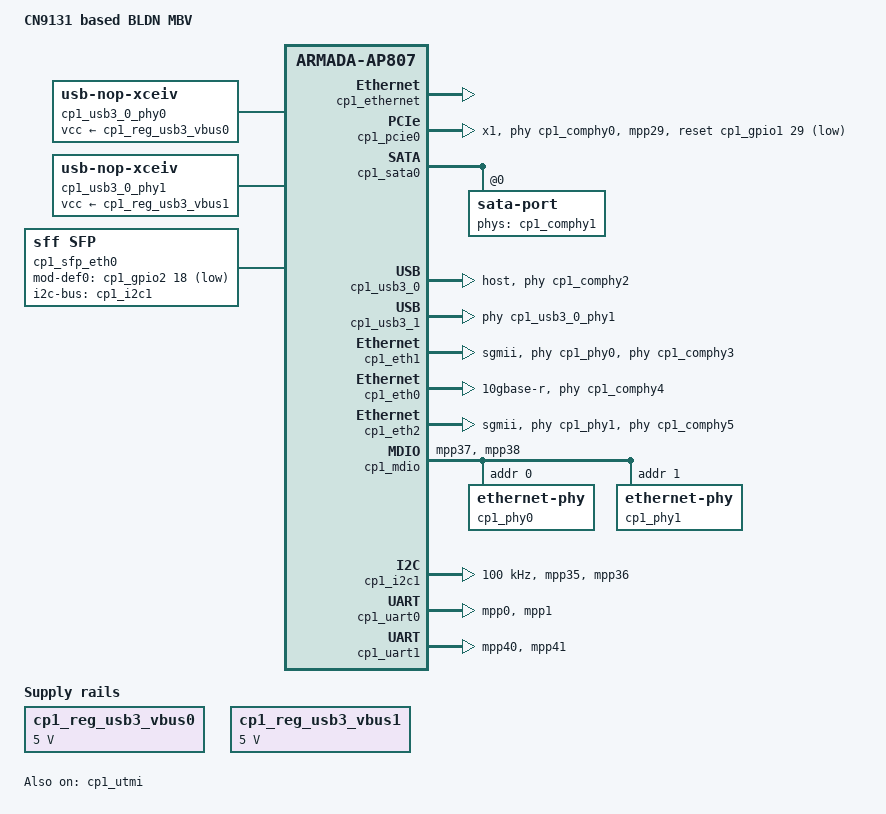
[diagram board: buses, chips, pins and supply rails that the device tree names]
// SPDX-License-Identifier: (GPL-2.0+ OR MIT)
/*
 * Copyright SolidRun Ltd.
 *
 * Device tree for the CN9131 COM Express Type 7 board.
 */

#include "cn9130-cf-solidwan.dts"

/ {
	model = "CN9131 based BLDN MBV";
	compatible = "marvell,cn9131", "marvell,cn9130",
		     "marvell,armada-ap807-quad", "marvell,armada-ap807";

	aliases {
		gpio3 = &cp1_gpio1;
		gpio4 = &cp1_gpio2;
		ethernet3 = &cp1_eth0;
		ethernet4 = &cp1_eth1;
	};
	cp1_reg_usb3_vbus0: cp1_usb3_vbus@0 {
		compatible = "regulator-fixed";
		regulator-name = "cp1-xhci0-vbus";
		regulator-min-microvolt = <5000000>;
		regulator-max-microvolt = <5000000>;
		enable-active-high;
	};
	cp1_usb3_0_phy0: cp1_usb3_phy0 {
		compatible = "usb-nop-xceiv";
		vcc-supply = <&cp1_reg_usb3_vbus0>;
	};
	cp1_reg_usb3_vbus1: cp1_usb3_vbus@1 {
		compatible = "regulator-fixed";
		regulator-name = "cp1-xhci1-vbus";
		regulator-min-microvolt = <5000000>;
		regulator-max-microvolt = <5000000>;
		enable-active-high;
	};
	cp1_usb3_0_phy1: cp1_usb3_phy@1 {
		compatible = "usb-nop-xceiv";
		vcc-supply = <&cp1_reg_usb3_vbus1>;
	};
	cp1_sfp_eth0: sfp_eth0{
		compatible = "sff,sfp";
		i2c-bus = <&cp1_i2c1>;
                mod-def0-gpio = <&cp1_gpio2 18 GPIO_ACTIVE_LOW>; //MPP50
                maximum-power-milliwatt = <2000>;
                pinctrl-0 = <&sfp_cp1_present_pins>; 
	};
	
};

/* Instantiate the first slave CP115  */

#define CP11X_NAME		cp1
#define CP11X_NUM		1
#define CP11X_BASE		f4000000
#define CP11X_PCIEx_MEM_BASE(iface) (0xe2000000 + (iface * 0x1000000))
#define CP11X_PCIEx_MEM_SIZE(iface) 0xf00000
#define CP11X_PCIE0_BASE	f4600000
#define CP11X_PCIE1_BASE	f4620000
#define CP11X_PCIE2_BASE	f4640000

#include "armada-cp115.dtsi"

#undef CP11X_NAME
#undef CP11X_NUM
#undef CP11X_BASE
#undef CP11X_PCIEx_MEM_BASE
#undef CP11X_PCIEx_MEM_SIZE
#undef CP11X_PCIE0_BASE
#undef CP11X_PCIE1_BASE
#undef CP11X_PCIE2_BASE

&cp1_crypto {
	status = "disabled";
};

&cp1_ethernet {
	status = "okay";
};

/* SRDS #0 - PCIe */
&cp1_pcie0 {
	pinctrl-names = "default";
        pinctrl-0 = <&cp1_pci0_reset_pins>;
        num-lanes = <1>;
        reset-gpios = <&cp1_gpio1 29 GPIO_ACTIVE_LOW>;
        phys = <&cp1_comphy0 0>;
        status = "okay";
//      num-viewport = <8>;
};

/* SRDS #1 - SATA */
&cp1_sata0 {
        status = "okay";
        sata-port@0 {
                status = "okay";
		phys = <&cp1_comphy1 0>;
		phy-names = "cp1-sata0-0-phy";
        };
	sata-port@1 {
                status = "disabled";
        };
};

/* SRDS #2 - USB3 */
&cp1_usb3_0 {
        status = "okay";
	phys = <&cp1_comphy2 0>;//, <&cp1_utmi0>;
//	usb-phy = <&cp1_usb3_0_phy0>;
	phy-names = "usb";
//	phy-names = "usb", "utmi"; //cp1-usb3h0-comphy
	dr_mode = "host";
//	reset-gpios = <&cp1_gpio1 30 GPIO_ACTIVE_LOW>;
};


&cp1_usb3_1 {
        status = "okay";
	usb-phy = <&cp1_usb3_0_phy1>;
        phy-names = "usb";
};


/* SRDS #3 - SGMII */
&cp1_eth1 {
        status = "okay";
        phy-mode = "sgmii";
        managed = "in-band-status";
        phy = <&cp1_phy0>;
        phys = <&cp1_comphy3 1>;
};

/* SRDS #4 - SFP+ 10GE */
&cp1_eth0 {
        status = "okay";
        phy-mode = "10gbase-r";
        phys = <&cp1_comphy4 0>;
        managed = "in-band-status";
        sfp = <&cp1_sfp_eth0>;
};

/* SRDS #5 - SGMII */
&cp1_eth2 {
        status = "okay";
        phy-mode = "sgmii";
        managed = "in-band-status";
        phy = <&cp1_phy1>;
        phys = <&cp1_comphy5 2>;
};

&cp1_gpio1 {
	status = "okay";
};

&cp1_gpio2 {
	status = "okay";
};

&cp1_mdio {
	pinctrl-names = "default";
        pinctrl-0 = <&cp1_ge_mdio_pins>;
	status = "okay";
        cp1_phy0: ethernet-phy@0 {
                /* Green led blinks on activity, Orange LED on link */
                marvell,reg-init = <3 16 0 0x0064>;
                reg = <0>;
        };
        cp1_phy1: ethernet-phy@1 {
                /* Green led blinks on activity, Orange LED on link */
                marvell,reg-init = <3 16 0 0x0064>;
                reg = <1>;
        };
};

&cp1_i2c1 {
	status = "okay";
	pinctrl-names = "default";
	pinctrl-0 = <&cp1_i2c1_pins>;
	clock-frequency = <100000>;
};

&cp1_utmi {
        status = "okay";
};


&cp1_uart0{
	status = "okay";
        pinctrl-0 = <&cp1_uart0_pins>;
        pinctrl-names = "default";
};

&cp1_uart1{
        status = "okay";
        pinctrl-0 = <&cp1_uart1_pins>;
        pinctrl-names = "default";
};

/* PIN Definition */

&cp1_syscon0 {
	cp1_pinctrl: pinctrl {
		compatible = "marvell,cp115-standalone-pinctrl";

		cp1_i2c1_pins: cp1-i2c-pins-1 {
			marvell,pins = "mpp35", "mpp36";
			marvell,function = "i2c1";
		};
		cp1_ge_mdio_pins: cp1_ge_mdio_pins-0 {
			marvell,pins = "mpp37", "mpp38";
			marvell,function = "ge";
		};
		sfp_cp1_present_pins: sfp_cp1_present_pins-0 {
			marvell,pins = "mpp50";
			marvell,function = "gpio";
                };
		sfp_cp1_tx_disable_pins: sfp_cp1_tx_disable_pins-0 {
                        marvell,pins = "mpp33";
                        marvell,function = "gpio";
                };
		sfp_cp1_los_pins: sfp_cp1_los_pins-0 {
                        marvell,pins = "mpp34";
                        marvell,function = "gpio";
                };
		cp1_pci0_reset_pins: cp1_pci0_reset_pins-0 {
                        marvell,pins = "mpp29";
                        marvell,function = "gpio";
                };
		cp1_uart0_pins: cp1-uart0-pins-1 {
			marvell,pins = "mpp0", "mpp1";
			marvell,function = "uart0";
        	};
		cp1_uart1_pins: cp1-uart1-pins-1 {
                        marvell,pins = "mpp40", "mpp41";
                        marvell,function = "uart1";
                };

	};
};

